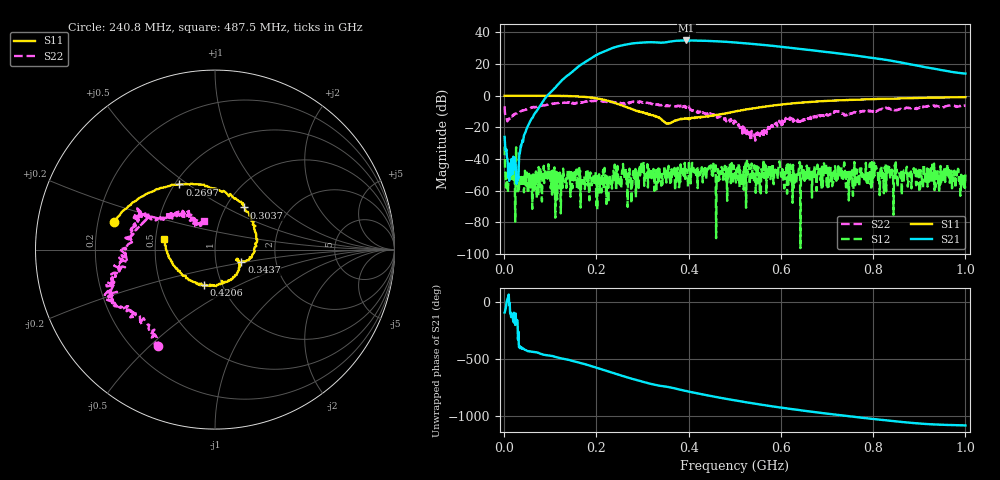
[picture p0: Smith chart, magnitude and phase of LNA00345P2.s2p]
! Created with skrf 1.9.0 (http://scikit-rf.org).
# Hz S RI R 50.0
!freq ReS11 ImS11 ReS21 ImS21 ReS12 ImS12 ReS22 ImS22
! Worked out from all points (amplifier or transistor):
!   1001 points, 1 MHz to 1 GHz, reference 50 ohm
!   highest |S21| = 34.9 dB at 394.6 MHz (marker M1)
!   |S21| within 3 dB of that: 257 MHz to 568.1 MHz (311 MHz wide, 75.4 % of centre)
!   unconditionally stable (mu >= 1): 3.569 MHz to 71.89 MHz; 240 MHz to 295.7 MHz; 302.9 MHz to end of sweep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
!   at 166.8 MHz: K = 2.42, MAG = 30.3 dB, |S12| = -54.3 dB
!   at 500.5 MHz: K = 2.26, MAG = 34.3 dB, |S12| = -47.6 dB
!   at 1 GHz: K = 4.69, MAG = 22.2 dB, |S12| = -49.7 dB
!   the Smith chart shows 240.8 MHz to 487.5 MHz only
!   S11 on the Smith chart (normalised r, x): 240.8 MHz: 0.27, +0.13; 269.7 MHz: 0.53, +0.46; 303.7 MHz: 1.22, +0.62; 343.7 MHz: 1.33, -0.19; 420.6 MHz: 0.82, -0.34; 487.5 MHz: 0.55, +0.07
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1000000  0.9986 0.0176  -0.00171 -0.0501  -0.0247 0.0028  0.2936 0.3584
1.08892e8  0.5091 -0.8549  -0.8039 -1.502  0.00525 -0.00144  0.4186 -0.3652
1.67833e8  -0.2544 -0.8968  -9.81 -0.5474  0.00182 2.46e-05  0.04 -0.6271
2.08792e8  -0.6878 -0.3763  -15.58 16.13  0.00192 0.000759  -0.2175 -0.6454
2.4076e8  -0.5612 0.1562  -1.584 34.32  0.00244 -0.00114  -0.317 -0.5362
2.69731e8  -0.1979 0.3631  23.59 35.56  -0.00348 -0.000681  -0.4763 -0.3359
3.03697e8  0.1633 0.2346  45.87 14.64  -0.00115 0.000835  -0.5676 -0.1995
3.34666e8  0.2044 -0.0431  46.86 -9.836  0.00253 0.00433  -0.4981 -0.0667
3.43657e8  0.1474 -0.0689  45.37 -14.27  0.00224 -0.000142  -0.535 -0.000647
3.67633e8  0.1365 -0.0756  44.04 -30.52  -1.89e-05 0.00335  -0.4546 0.1359
3.94606e8  0.0734 -0.1777  27.92 -48.29  0.00061 0.00465  -0.4032 0.1986
4.2058e8  -0.0616 -0.1976  7.591 -54.69  0.00395 0.00334  -0.2369 0.1727
4.5055e8  -0.1983 -0.1236  -14.22 -51.81  0.0027 0.00151  -0.1651 0.2024
4.87513e8  -0.2856 0.0572  -33.65 -36.52  0.00369 0.00388  -0.0624 0.1608
5.005e8  -0.289 0.1305  -38.22 -29.79  -0.00207 0.0036  -0.0777 0.1301
5.4046e8  -0.2033 0.3427  -42.16 -8.314  0.00307 -0.00138  -0.0496 0.0323
5.88412e8  0.0107 0.5008  -34.87 11.72  0.00123 -0.00416  -0.1082 -0.0667
6.67333e8  0.4004 0.4988  -12.85 23.93  0.000602 4e-05  -0.1925 -0.0418
7.53247e8  0.6839 0.2784  4.461 18.67  -0.00233 -0.000451  -0.2682 0.00385
8.34166e8  0.8066 0.0113  10.02 8.485  -0.000293 0.00472  -0.3947 0.0219
9.09091e8  0.817 -0.2541  7.992 1.785  -0.00371 -0.00504  -0.3758 0.2248
1e9  0.7237 -0.5356  5.011 -0.131  0.00287 -0.00155  -0.2839 0.3842
